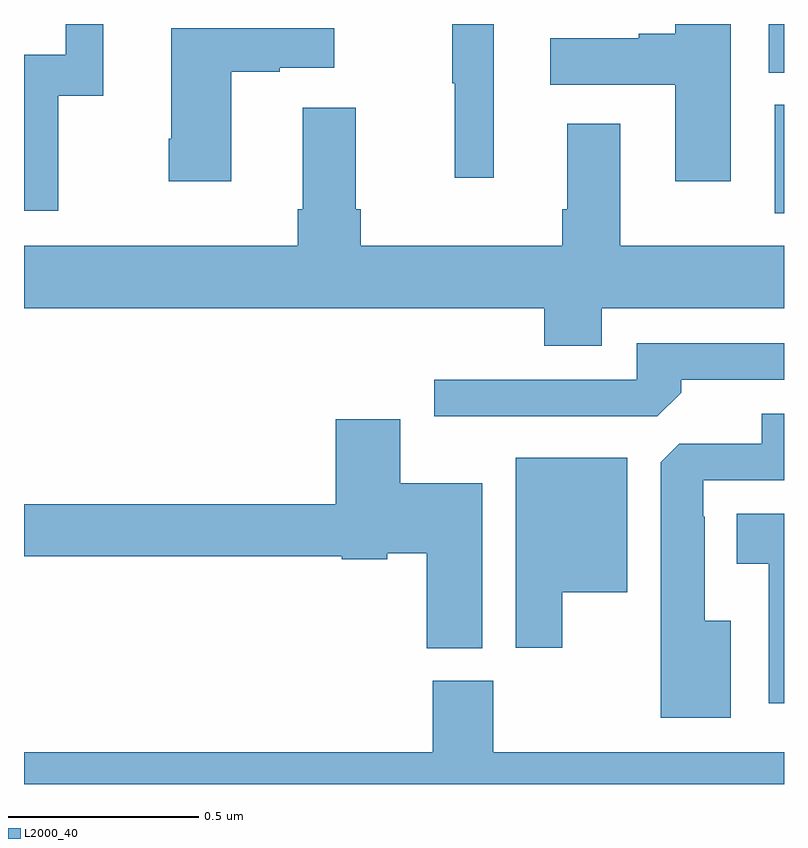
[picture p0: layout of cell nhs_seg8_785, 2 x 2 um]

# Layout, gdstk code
import gdstk
lib = gdstk.Library(unit=1e-6, precision=1e-09)
def R(c, l, rs):  # rectangles x0, y0, x1, y1
    for r in rs: c.add(gdstk.rectangle(r[:2], r[2:], *l))
def P(c, l, *ps):  # polygons
    for p in ps: c.add(gdstk.Polygon(p, *l))
L2000_40 = (2000, 40)

nhs_seg8_785 = lib.new_cell('nhs_seg8_785')
R(nhs_seg8_785, L2000_40, [(122.975,1131.402,123,1131.687), (122.96,1131.772,123,1131.9)])
P(nhs_seg8_785, L2000_40, [(121.09,1131.711),(121.208,1131.711),(121.208,1131.9),(121.11,1131.9),(121.11,1131.819),(121,1131.819),(121,1131.408),(121.09,1131.408)],
  [(122.86,1131.9),(122.714,1131.9),(122.714,1131.875),(122.618,1131.875),(122.618,1131.862),(122.385,1131.862),(122.385,1131.74),(122.714,1131.74),(122.714,1131.486),(122.86,1131.486)],
  [(122.236,1131.9),(122.127,1131.9),(122.127,1131.744),(122.134,1131.744),(122.134,1131.495),(122.236,1131.495)],
  [(121.546,1131.775),(121.673,1131.775),(121.673,1131.785),(121.816,1131.785),(121.816,1131.889),(121.388,1131.889),(121.388,1131.598),(121.381,1131.598),(121.381,1131.486),(121.546,1131.486)],
  [(122.521,1131.152),(123,1131.152),(123,1131.316),(122.569,1131.316),(122.569,1131.637),(122.429,1131.637),(122.429,1131.412),(122.417,1131.412),(122.417,1131.316),(121.886,1131.316),(121.886,1131.412),(121.873,1131.412),(121.873,1131.679),(121.733,1131.679),(121.733,1131.412),(121.721,1131.412),(121.721,1131.316),(121,1131.316),(121,1131.152),(122.369,1131.152),(122.369,1131.053),(122.521,1131.053)],
  [(122.729,1130.93),(122.729,1130.964),(123,1130.964),(123,1131.06),(122.613,1131.06),(122.613,1130.964),(122.079,1130.964),(122.079,1130.868),(122.667,1130.868)],
  [(122.86,1130.329),(122.791,1130.329),(122.791,1130.603),(122.787,1130.603),(122.787,1130.7),(123,1130.7),(123,1130.875),(122.942,1130.875),(122.942,1130.796),(122.724,1130.796),(122.675,1130.747),(122.675,1130.075),(122.86,1130.075)],
  [(122.206,1130.692),(121.99,1130.692),(121.99,1130.86),(121.82,1130.86),(121.82,1130.636),(121,1130.636),(121,1130.5),(121.836,1130.5),(121.836,1130.492),(121.956,1130.492),(121.956,1130.507),(122.06,1130.507),(122.06,1130.257),(122.206,1130.257)],
  [(122.416,1130.405),(122.587,1130.405),(122.587,1130.758),(122.294,1130.758),(122.294,1130.259),(122.416,1130.259)],
  [(123,1130.611),(122.876,1130.611),(122.876,1130.48),(122.96,1130.48),(122.96,1130.112),(123,1130.112)],
  [(123,1129.984),(122.235,1129.984),(122.235,1130.172),(122.075,1130.172),(122.075,1129.984),(121,1129.984),(121,1129.9),(123,1129.9)])

lib.write_gds('nhs_seg8_785.gds')
